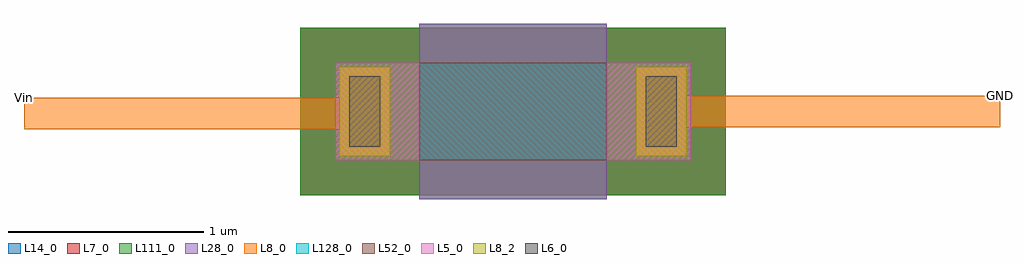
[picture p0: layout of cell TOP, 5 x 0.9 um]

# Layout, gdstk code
from math import pi, radians
import gdstk
lib = gdstk.Library(unit=1e-6, precision=5e-09)
def R(c, l, rs):  # rectangles x0, y0, x1, y1
    for r in rs: c.add(gdstk.rectangle(r[:2], r[2:], *l))
L5_0 = (5, 0)
L6_0 = (6, 0)
L7_0 = (7, 0)
L8_0 = (8, 0)
L8_2 = (8, 2)
L14_0 = (14, 0)
L28_0 = (28, 0)
L52_0 = (52, 0)
L111_0 = (111, 0)
L128_0 = (128, 0)

rhigh = lib.new_cell('rhigh')
R(rhigh, L5_0, [(0,-0.43,0.5,0), (0,0.96,0.5,1.39)])
R(rhigh, L6_0, [(0.07,-0.36,0.43,-0.2), (0.07,1.16,0.43,1.32)])
R(rhigh, L7_0, [(-0.18,-0.61,0.68,0.18), (-0.18,0,0.68,0.96), (-0.18,0,0.68,0.96), (-0.18,0.78,0.68,1.57)])
R(rhigh, L8_0, [(0.02,-0.41,0.48,-0.15), (0.02,1.11,0.48,1.37)])
R(rhigh, L8_2, [(0.02,-0.41,0.48,-0.15), (0.02,1.11,0.48,1.37)])
R(rhigh, L14_0, [(-0.18,-0.61,0.68,0.18), (-0.18,0,0.68,0.96), (-0.18,0,0.68,0.96), (-0.18,0.78,0.68,1.57)])
R(rhigh, L28_0, [(-0.2,0,0.7,0.96)])
R(rhigh, L52_0, [(0,0,0.5,0.96)])
R(rhigh, L111_0, [(-0.18,-0.61,0.68,0.18), (-0.2,0,0.7,0.96), (-0.18,0.78,0.68,1.57)])
R(rhigh, L128_0, [(0,0,0.5,0.96)])
rhigh.add(gdstk.Label('rhigh r=3158.261', (0.25,0.48), layer=63, texttype=0))
rhigh.add(gdstk.Label('rhigh', (0.25,0.48), layer=52, texttype=0))

top = lib.new_cell('TOP')
top.add(gdstk.FlexPath([(0.76,0.05),(2.495,0.05)], 0.16, ends="flush", simple_path=True, layer=8, datatype=0))  # L8_0
top.add(gdstk.FlexPath([(-0.76,0.04),(-2.505,0.04)], 0.16, ends="flush", simple_path=True, layer=8, datatype=0))  # L8_0
top.add(gdstk.Reference(rhigh, (-0.48,0.3), rotation=3*pi/2))
top.add(gdstk.Label('Vin', (-2.505,0.12), layer=8, texttype=25))
top.add(gdstk.Label('GND', (2.495,0.13), layer=8, texttype=25))

lib.write_gds('TOP.gds')
